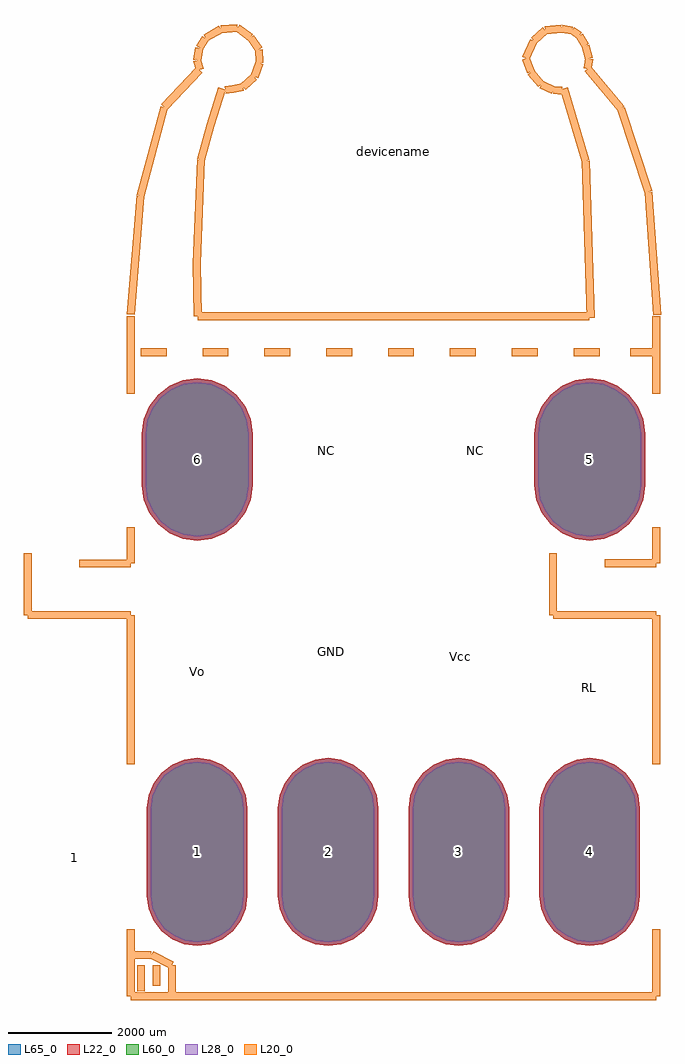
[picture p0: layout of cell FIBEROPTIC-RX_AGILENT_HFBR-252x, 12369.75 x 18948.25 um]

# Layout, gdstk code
import gdstk
lib = gdstk.Library(unit=1e-6, precision=1e-09)
def P(c, l, *ps):  # polygons
    for p in ps: c.add(gdstk.Polygon(p, *l))
L20_0 = (20, 0)
L22_0 = (22, 0)
L28_0 = (28, 0)
L60_0 = (60, 0)
L65_0 = (65, 0)

fiberoptic_rx_agilent_hf = lib.new_cell('FIBEROPTIC-RX_AGILENT_HFBR-252x')
P(fiberoptic_rx_agilent_hf, L22_0, [(-3810,444.43),(-3531.902,481.042),(-3272.755,588.384),(-3050.221,759.141),(-2879.464,981.675),(-2772.122,1240.822),(-2735.51,1518.92),(-2735.51,2519.68),(-2772.122,2797.778),(-2879.464,3056.925),(-3050.221,3279.459),(-3272.755,3450.216),(-3531.902,3557.558),(-3810,3594.17),(-4088.098,3557.558),(-4347.245,3450.216),(-4569.779,3279.459),(-4740.536,3056.925),(-4847.878,2797.778),(-4884.49,2519.68),(-4884.49,1518.92),(-4847.878,1240.822),(-4740.536,981.675),(-4569.779,759.141),(-4347.245,588.384),(-4088.098,481.042)],
  [(3810,444.43),(4088.098,481.042),(4347.245,588.384),(4569.779,759.141),(4740.536,981.675),(4847.878,1240.822),(4884.49,1518.92),(4884.49,2519.68),(4847.878,2797.778),(4740.536,3056.925),(4569.779,3279.459),(4347.245,3450.216),(4088.098,3557.558),(3810,3594.17),(3531.902,3557.558),(3272.755,3450.216),(3050.221,3279.459),(2879.464,3056.925),(2772.122,2797.778),(2735.51,2519.68),(2735.51,1518.92),(2772.122,1240.822),(2879.464,981.675),(3050.221,759.141),(3272.755,588.384),(3531.902,481.042)],
  [(3810,-7425.76),(4062.46,-7392.523),(4297.715,-7295.077),(4499.733,-7140.063),(4654.747,-6938.045),(4752.193,-6702.79),(4785.43,-6450.33),(4785.43,-4751.07),(4752.193,-4498.61),(4654.747,-4263.355),(4499.733,-4061.337),(4297.715,-3906.323),(4062.46,-3808.877),(3810,-3775.64),(3557.54,-3808.877),(3322.285,-3906.323),(3120.267,-4061.337),(2965.253,-4263.355),(2867.807,-4498.61),(2834.57,-4751.07),(2834.57,-6450.33),(2867.807,-6702.79),(2965.253,-6938.045),(3120.267,-7140.063),(3322.285,-7295.077),(3557.54,-7392.523)],
  [(1270,-7425.76),(1522.46,-7392.523),(1757.715,-7295.077),(1959.733,-7140.063),(2114.747,-6938.045),(2212.193,-6702.79),(2245.43,-6450.33),(2245.43,-4751.07),(2212.193,-4498.61),(2114.747,-4263.355),(1959.733,-4061.337),(1757.715,-3906.323),(1522.46,-3808.877),(1270,-3775.64),(1017.54,-3808.877),(782.285,-3906.323),(580.267,-4061.337),(425.253,-4263.355),(327.807,-4498.61),(294.57,-4751.07),(294.57,-6450.33),(327.807,-6702.79),(425.253,-6938.045),(580.267,-7140.063),(782.285,-7295.077),(1017.54,-7392.523)],
  [(-1270,-7425.76),(-1017.54,-7392.523),(-782.285,-7295.077),(-580.267,-7140.063),(-425.253,-6938.045),(-327.807,-6702.79),(-294.57,-6450.33),(-294.57,-4751.07),(-327.807,-4498.61),(-425.253,-4263.355),(-580.267,-4061.337),(-782.285,-3906.323),(-1017.54,-3808.877),(-1270,-3775.64),(-1522.46,-3808.877),(-1757.715,-3906.323),(-1959.733,-4061.337),(-2114.747,-4263.355),(-2212.193,-4498.61),(-2245.43,-4751.07),(-2245.43,-6450.33),(-2212.193,-6702.79),(-2114.747,-6938.045),(-1959.733,-7140.063),(-1757.715,-7295.077),(-1522.46,-7392.523)],
  [(-3810,-7425.76),(-3557.54,-7392.523),(-3322.285,-7295.077),(-3120.267,-7140.063),(-2965.253,-6938.045),(-2867.807,-6702.79),(-2834.57,-6450.33),(-2834.57,-4751.07),(-2867.807,-4498.61),(-2965.253,-4263.355),(-3120.267,-4061.337),(-3322.285,-3906.323),(-3557.54,-3808.877),(-3810,-3775.64),(-4062.46,-3808.877),(-4297.715,-3906.323),(-4499.733,-4061.337),(-4654.747,-4263.355),(-4752.193,-4498.61),(-4785.43,-4751.07),(-4785.43,-6450.33),(-4752.193,-6702.79),(-4654.747,-6938.045),(-4499.733,-7140.063),(-4297.715,-7295.077),(-4062.46,-7392.523)])
P(fiberoptic_rx_agilent_hf, L28_0, [(-3810,519.43),(-3551.313,553.487),(-3310.255,653.336),(-3103.254,812.174),(-2944.416,1019.175),(-2844.567,1260.233),(-2810.51,1518.92),(-2810.51,2519.68),(-2844.567,2778.367),(-2944.416,3019.425),(-3103.254,3226.426),(-3310.255,3385.264),(-3551.313,3485.113),(-3810,3519.17),(-4068.687,3485.113),(-4309.745,3385.264),(-4516.746,3226.426),(-4675.584,3019.425),(-4775.433,2778.367),(-4809.49,2519.68),(-4809.49,1518.92),(-4775.433,1260.233),(-4675.584,1019.175),(-4516.746,812.174),(-4309.745,653.336),(-4068.687,553.487)],
  [(3810,519.43),(4068.687,553.487),(4309.745,653.336),(4516.746,812.174),(4675.584,1019.175),(4775.433,1260.233),(4809.49,1518.92),(4809.49,2519.68),(4775.433,2778.367),(4675.584,3019.425),(4516.746,3226.426),(4309.745,3385.264),(4068.687,3485.113),(3810,3519.17),(3551.313,3485.113),(3310.255,3385.264),(3103.254,3226.426),(2944.416,3019.425),(2844.567,2778.367),(2810.51,2519.68),(2810.51,1518.92),(2844.567,1260.233),(2944.416,1019.175),(3103.254,812.174),(3310.255,653.336),(3551.313,553.487)],
  [(3810,-7350.76),(4043.048,-7320.079),(4260.215,-7230.125),(4446.7,-7087.03),(4589.795,-6900.545),(4679.749,-6683.378),(4710.43,-6450.33),(4710.43,-4751.07),(4679.749,-4518.022),(4589.795,-4300.855),(4446.7,-4114.37),(4260.215,-3971.275),(4043.048,-3881.321),(3810,-3850.64),(3576.952,-3881.321),(3359.785,-3971.275),(3173.3,-4114.37),(3030.205,-4300.855),(2940.251,-4518.022),(2909.57,-4751.07),(2909.57,-6450.33),(2940.251,-6683.378),(3030.205,-6900.545),(3173.3,-7087.03),(3359.785,-7230.125),(3576.952,-7320.079)],
  [(1270,-7350.76),(1503.048,-7320.079),(1720.215,-7230.125),(1906.7,-7087.03),(2049.795,-6900.545),(2139.749,-6683.378),(2170.43,-6450.33),(2170.43,-4751.07),(2139.749,-4518.022),(2049.795,-4300.855),(1906.7,-4114.37),(1720.215,-3971.275),(1503.048,-3881.321),(1270,-3850.64),(1036.952,-3881.321),(819.785,-3971.275),(633.3,-4114.37),(490.205,-4300.855),(400.251,-4518.022),(369.57,-4751.07),(369.57,-6450.33),(400.251,-6683.378),(490.205,-6900.545),(633.3,-7087.03),(819.785,-7230.125),(1036.952,-7320.079)],
  [(-1270,-7350.76),(-1036.952,-7320.079),(-819.785,-7230.125),(-633.3,-7087.03),(-490.205,-6900.545),(-400.251,-6683.378),(-369.57,-6450.33),(-369.57,-4751.07),(-400.251,-4518.022),(-490.205,-4300.855),(-633.3,-4114.37),(-819.785,-3971.275),(-1036.952,-3881.321),(-1270,-3850.64),(-1503.048,-3881.321),(-1720.215,-3971.275),(-1906.7,-4114.37),(-2049.795,-4300.855),(-2139.749,-4518.022),(-2170.43,-4751.07),(-2170.43,-6450.33),(-2139.749,-6683.378),(-2049.795,-6900.545),(-1906.7,-7087.03),(-1720.215,-7230.125),(-1503.048,-7320.079)],
  [(-3810,-7350.76),(-3576.952,-7320.079),(-3359.785,-7230.125),(-3173.3,-7087.03),(-3030.205,-6900.545),(-2940.251,-6683.378),(-2909.57,-6450.33),(-2909.57,-4751.07),(-2940.251,-4518.022),(-3030.205,-4300.855),(-3173.3,-4114.37),(-3359.785,-3971.275),(-3576.952,-3881.321),(-3810,-3850.64),(-4043.048,-3881.321),(-4260.215,-3971.275),(-4446.7,-4114.37),(-4589.795,-4300.855),(-4679.749,-4518.022),(-4710.43,-4751.07),(-4710.43,-6450.33),(-4679.749,-6683.378),(-4589.795,-6900.545),(-4446.7,-7087.03),(-4260.215,-7230.125),(-4043.048,-7320.079)])
P(fiberoptic_rx_agilent_hf, L60_0, [(-3810,519.43),(-3551.313,553.487),(-3310.255,653.336),(-3103.254,812.174),(-2944.416,1019.175),(-2844.567,1260.233),(-2810.51,1518.92),(-2810.51,2519.68),(-2844.567,2778.367),(-2944.416,3019.425),(-3103.254,3226.426),(-3310.255,3385.264),(-3551.313,3485.113),(-3810,3519.17),(-4068.687,3485.113),(-4309.745,3385.264),(-4516.746,3226.426),(-4675.584,3019.425),(-4775.433,2778.367),(-4809.49,2519.68),(-4809.49,1518.92),(-4775.433,1260.233),(-4675.584,1019.175),(-4516.746,812.174),(-4309.745,653.336),(-4068.687,553.487)],
  [(3810,519.43),(4068.687,553.487),(4309.745,653.336),(4516.746,812.174),(4675.584,1019.175),(4775.433,1260.233),(4809.49,1518.92),(4809.49,2519.68),(4775.433,2778.367),(4675.584,3019.425),(4516.746,3226.426),(4309.745,3385.264),(4068.687,3485.113),(3810,3519.17),(3551.313,3485.113),(3310.255,3385.264),(3103.254,3226.426),(2944.416,3019.425),(2844.567,2778.367),(2810.51,2519.68),(2810.51,1518.92),(2844.567,1260.233),(2944.416,1019.175),(3103.254,812.174),(3310.255,653.336),(3551.313,553.487)],
  [(3810,-7350.76),(4043.048,-7320.079),(4260.215,-7230.125),(4446.7,-7087.03),(4589.795,-6900.545),(4679.749,-6683.378),(4710.43,-6450.33),(4710.43,-4751.07),(4679.749,-4518.022),(4589.795,-4300.855),(4446.7,-4114.37),(4260.215,-3971.275),(4043.048,-3881.321),(3810,-3850.64),(3576.952,-3881.321),(3359.785,-3971.275),(3173.3,-4114.37),(3030.205,-4300.855),(2940.251,-4518.022),(2909.57,-4751.07),(2909.57,-6450.33),(2940.251,-6683.378),(3030.205,-6900.545),(3173.3,-7087.03),(3359.785,-7230.125),(3576.952,-7320.079)],
  [(1270,-7350.76),(1503.048,-7320.079),(1720.215,-7230.125),(1906.7,-7087.03),(2049.795,-6900.545),(2139.749,-6683.378),(2170.43,-6450.33),(2170.43,-4751.07),(2139.749,-4518.022),(2049.795,-4300.855),(1906.7,-4114.37),(1720.215,-3971.275),(1503.048,-3881.321),(1270,-3850.64),(1036.952,-3881.321),(819.785,-3971.275),(633.3,-4114.37),(490.205,-4300.855),(400.251,-4518.022),(369.57,-4751.07),(369.57,-6450.33),(400.251,-6683.378),(490.205,-6900.545),(633.3,-7087.03),(819.785,-7230.125),(1036.952,-7320.079)],
  [(-1270,-7350.76),(-1036.952,-7320.079),(-819.785,-7230.125),(-633.3,-7087.03),(-490.205,-6900.545),(-400.251,-6683.378),(-369.57,-6450.33),(-369.57,-4751.07),(-400.251,-4518.022),(-490.205,-4300.855),(-633.3,-4114.37),(-819.785,-3971.275),(-1036.952,-3881.321),(-1270,-3850.64),(-1503.048,-3881.321),(-1720.215,-3971.275),(-1906.7,-4114.37),(-2049.795,-4300.855),(-2139.749,-4518.022),(-2170.43,-4751.07),(-2170.43,-6450.33),(-2139.749,-6683.378),(-2049.795,-6900.545),(-1906.7,-7087.03),(-1720.215,-7230.125),(-1503.048,-7320.079)],
  [(-3810,-7350.76),(-3576.952,-7320.079),(-3359.785,-7230.125),(-3173.3,-7087.03),(-3030.205,-6900.545),(-2940.251,-6683.378),(-2909.57,-6450.33),(-2909.57,-4751.07),(-2940.251,-4518.022),(-3030.205,-4300.855),(-3173.3,-4114.37),(-3359.785,-3971.275),(-3576.952,-3881.321),(-3810,-3850.64),(-4043.048,-3881.321),(-4260.215,-3971.275),(-4446.7,-4114.37),(-4589.795,-4300.855),(-4679.749,-4518.022),(-4710.43,-4751.07),(-4710.43,-6450.33),(-4679.749,-6683.378),(-4589.795,-6900.545),(-4446.7,-7087.03),(-4260.215,-7230.125),(-4043.048,-7320.079)])
P(fiberoptic_rx_agilent_hf, L65_0, [(-3810,444.43),(-3531.902,481.042),(-3272.755,588.384),(-3050.221,759.141),(-2879.464,981.675),(-2772.122,1240.822),(-2735.51,1518.92),(-2735.51,2519.68),(-2772.122,2797.778),(-2879.464,3056.925),(-3050.221,3279.459),(-3272.755,3450.216),(-3531.902,3557.558),(-3810,3594.17),(-4088.098,3557.558),(-4347.245,3450.216),(-4569.779,3279.459),(-4740.536,3056.925),(-4847.878,2797.778),(-4884.49,2519.68),(-4884.49,1518.92),(-4847.878,1240.822),(-4740.536,981.675),(-4569.779,759.141),(-4347.245,588.384),(-4088.098,481.042)],
  [(3810,444.43),(4088.098,481.042),(4347.245,588.384),(4569.779,759.141),(4740.536,981.675),(4847.878,1240.822),(4884.49,1518.92),(4884.49,2519.68),(4847.878,2797.778),(4740.536,3056.925),(4569.779,3279.459),(4347.245,3450.216),(4088.098,3557.558),(3810,3594.17),(3531.902,3557.558),(3272.755,3450.216),(3050.221,3279.459),(2879.464,3056.925),(2772.122,2797.778),(2735.51,2519.68),(2735.51,1518.92),(2772.122,1240.822),(2879.464,981.675),(3050.221,759.141),(3272.755,588.384),(3531.902,481.042)],
  [(3810,-7425.76),(4062.46,-7392.523),(4297.715,-7295.077),(4499.733,-7140.063),(4654.747,-6938.045),(4752.193,-6702.79),(4785.43,-6450.33),(4785.43,-4751.07),(4752.193,-4498.61),(4654.747,-4263.355),(4499.733,-4061.337),(4297.715,-3906.323),(4062.46,-3808.877),(3810,-3775.64),(3557.54,-3808.877),(3322.285,-3906.323),(3120.267,-4061.337),(2965.253,-4263.355),(2867.807,-4498.61),(2834.57,-4751.07),(2834.57,-6450.33),(2867.807,-6702.79),(2965.253,-6938.045),(3120.267,-7140.063),(3322.285,-7295.077),(3557.54,-7392.523)],
  [(1270,-7425.76),(1522.46,-7392.523),(1757.715,-7295.077),(1959.733,-7140.063),(2114.747,-6938.045),(2212.193,-6702.79),(2245.43,-6450.33),(2245.43,-4751.07),(2212.193,-4498.61),(2114.747,-4263.355),(1959.733,-4061.337),(1757.715,-3906.323),(1522.46,-3808.877),(1270,-3775.64),(1017.54,-3808.877),(782.285,-3906.323),(580.267,-4061.337),(425.253,-4263.355),(327.807,-4498.61),(294.57,-4751.07),(294.57,-6450.33),(327.807,-6702.79),(425.253,-6938.045),(580.267,-7140.063),(782.285,-7295.077),(1017.54,-7392.523)],
  [(-1270,-7425.76),(-1017.54,-7392.523),(-782.285,-7295.077),(-580.267,-7140.063),(-425.253,-6938.045),(-327.807,-6702.79),(-294.57,-6450.33),(-294.57,-4751.07),(-327.807,-4498.61),(-425.253,-4263.355),(-580.267,-4061.337),(-782.285,-3906.323),(-1017.54,-3808.877),(-1270,-3775.64),(-1522.46,-3808.877),(-1757.715,-3906.323),(-1959.733,-4061.337),(-2114.747,-4263.355),(-2212.193,-4498.61),(-2245.43,-4751.07),(-2245.43,-6450.33),(-2212.193,-6702.79),(-2114.747,-6938.045),(-1959.733,-7140.063),(-1757.715,-7295.077),(-1522.46,-7392.523)],
  [(-3810,-7425.76),(-3557.54,-7392.523),(-3322.285,-7295.077),(-3120.267,-7140.063),(-2965.253,-6938.045),(-2867.807,-6702.79),(-2834.57,-6450.33),(-2834.57,-4751.07),(-2867.807,-4498.61),(-2965.253,-4263.355),(-3120.267,-4061.337),(-3322.285,-3906.323),(-3557.54,-3808.877),(-3810,-3775.64),(-4062.46,-3808.877),(-4297.715,-3906.323),(-4499.733,-4061.337),(-4654.747,-4263.355),(-4752.193,-4498.61),(-4785.43,-4751.07),(-4785.43,-6450.33),(-4752.193,-6702.79),(-4654.747,-6938.045),(-4499.733,-7140.063),(-4297.715,-7295.077),(-4062.46,-7392.523)])
fiberoptic_rx_agilent_hf.add(gdstk.FlexPath([(0,-8399.78),(5100.32,-8399.78)], 149.998, ends="flush", simple_path=True, layer=20, datatype=0))  # L20_0
fiberoptic_rx_agilent_hf.add(gdstk.FlexPath([(0,-8399.78),(-5100.32,-8399.78)], 149.998, ends="flush", simple_path=True, layer=20, datatype=0))  # L20_0
fiberoptic_rx_agilent_hf.add(gdstk.FlexPath([(3799.84,4800.6),(-3799.84,4800.6)], 149.998, ends="flush", simple_path=True, layer=20, datatype=0))  # L20_0
fiberoptic_rx_agilent_hf.add(gdstk.FlexPath([(4419.6,8829.04),(3769.36,9601.2)], 149.998, ends="flush", simple_path=True, layer=20, datatype=0))  # L20_0
fiberoptic_rx_agilent_hf.add(gdstk.FlexPath([(4950.46,7211.06),(4419.6,8829.04)], 149.998, ends="flush", simple_path=True, layer=20, datatype=0))  # L20_0
fiberoptic_rx_agilent_hf.add(gdstk.FlexPath([(5120.64,4820.92),(4950.46,7211.06)], 149.998, ends="flush", simple_path=True, layer=20, datatype=0))  # L20_0
fiberoptic_rx_agilent_hf.add(gdstk.FlexPath([(-4450.08,8859.52),(-3769.36,9580.88)], 149.998, ends="flush", simple_path=True, layer=20, datatype=0))  # L20_0
fiberoptic_rx_agilent_hf.add(gdstk.FlexPath([(-4909.82,7139.94),(-4450.08,8859.52)], 149.998, ends="flush", simple_path=True, layer=20, datatype=0))  # L20_0
fiberoptic_rx_agilent_hf.add(gdstk.FlexPath([(-5100.32,4831.08),(-4909.82,7139.94)], 149.998, ends="flush", simple_path=True, layer=20, datatype=0))  # L20_0
fiberoptic_rx_agilent_hf.add(gdstk.FlexPath([(-3550.92,8509),(-3329.94,9220.2)], 149.998, ends="flush", simple_path=True, layer=20, datatype=0))  # L20_0
fiberoptic_rx_agilent_hf.add(gdstk.FlexPath([(-3738.88,7840.98),(-3550.92,8509)], 149.998, ends="flush", simple_path=True, layer=20, datatype=0))  # L20_0
fiberoptic_rx_agilent_hf.add(gdstk.FlexPath([(-3820.16,5819.14),(-3738.88,7840.98)], 149.998, ends="flush", simple_path=True, layer=20, datatype=0))  # L20_0
fiberoptic_rx_agilent_hf.add(gdstk.FlexPath([(-3799.84,4800.6),(-3820.16,5819.14)], 149.998, ends="flush", simple_path=True, layer=20, datatype=0))  # L20_0
fiberoptic_rx_agilent_hf.add(gdstk.FlexPath([(3731.26,7820.66),(3309.62,9220.2)], 149.998, ends="flush", simple_path=True, layer=20, datatype=0))  # L20_0
fiberoptic_rx_agilent_hf.add(gdstk.FlexPath([(3830.32,4770.12),(3731.26,7820.66)], 149.998, ends="flush", simple_path=True, layer=20, datatype=0))  # L20_0
fiberoptic_rx_agilent_hf.add(gdstk.FlexPath([(3108.96,9189.72),(3268.98,9179.56)], 149.998, ends="flush", simple_path=True, layer=20, datatype=0))  # L20_0
fiberoptic_rx_agilent_hf.add(gdstk.FlexPath([(2870.2,9298.94),(3108.96,9189.72)], 149.998, ends="flush", simple_path=True, layer=20, datatype=0))  # L20_0
fiberoptic_rx_agilent_hf.add(gdstk.FlexPath([(2669.54,9540.24),(2870.2,9298.94)], 149.998, ends="flush", simple_path=True, layer=20, datatype=0))  # L20_0
fiberoptic_rx_agilent_hf.add(gdstk.FlexPath([(2570.48,9809.48),(2669.54,9540.24)], 149.998, ends="flush", simple_path=True, layer=20, datatype=0))  # L20_0
fiberoptic_rx_agilent_hf.add(gdstk.FlexPath([(2720.34,10149.84),(2570.48,9809.48)], 149.998, ends="flush", simple_path=True, layer=20, datatype=0))  # L20_0
fiberoptic_rx_agilent_hf.add(gdstk.FlexPath([(2948.94,10350.5),(2720.34,10149.84)], 149.998, ends="flush", simple_path=True, layer=20, datatype=0))  # L20_0
fiberoptic_rx_agilent_hf.add(gdstk.FlexPath([(3268.98,10380.98),(2948.94,10350.5)], 149.998, ends="flush", simple_path=True, layer=20, datatype=0))  # L20_0
fiberoptic_rx_agilent_hf.add(gdstk.FlexPath([(3469.64,10350.5),(3268.98,10380.98)], 149.998, ends="flush", simple_path=True, layer=20, datatype=0))  # L20_0
fiberoptic_rx_agilent_hf.add(gdstk.FlexPath([(3609.34,10248.9),(3469.64,10350.5)], 149.998, ends="flush", simple_path=True, layer=20, datatype=0))  # L20_0
fiberoptic_rx_agilent_hf.add(gdstk.FlexPath([(3731.26,10050.78),(3609.34,10248.9)], 149.998, ends="flush", simple_path=True, layer=20, datatype=0))  # L20_0
fiberoptic_rx_agilent_hf.add(gdstk.FlexPath([(3799.84,9799.32),(3731.26,10050.78)], 149.998, ends="flush", simple_path=True, layer=20, datatype=0))  # L20_0
fiberoptic_rx_agilent_hf.add(gdstk.FlexPath([(3769.36,9601.2),(3799.84,9799.32)], 149.998, ends="flush", simple_path=True, layer=20, datatype=0))  # L20_0
fiberoptic_rx_agilent_hf.add(gdstk.FlexPath([(-3810,9768.84),(-3759.2,9580.88)], 149.998, ends="flush", simple_path=True, layer=20, datatype=0))  # L20_0
fiberoptic_rx_agilent_hf.add(gdstk.FlexPath([(-3769.36,10010.14),(-3810,9768.84)], 149.998, ends="flush", simple_path=True, layer=20, datatype=0))  # L20_0
fiberoptic_rx_agilent_hf.add(gdstk.FlexPath([(-3649.98,10200.64),(-3769.36,10010.14)], 149.998, ends="flush", simple_path=True, layer=20, datatype=0))  # L20_0
fiberoptic_rx_agilent_hf.add(gdstk.FlexPath([(-3350.26,10370.82),(-3649.98,10200.64)], 149.998, ends="flush", simple_path=True, layer=20, datatype=0))  # L20_0
fiberoptic_rx_agilent_hf.add(gdstk.FlexPath([(-3030.22,10398.76),(-3350.26,10370.82)], 149.998, ends="flush", simple_path=True, layer=20, datatype=0))  # L20_0
fiberoptic_rx_agilent_hf.add(gdstk.FlexPath([(-2771.14,10210.8),(-3030.22,10398.76)], 149.998, ends="flush", simple_path=True, layer=20, datatype=0))  # L20_0
fiberoptic_rx_agilent_hf.add(gdstk.FlexPath([(-2611.12,9979.66),(-2771.14,10210.8)], 149.998, ends="flush", simple_path=True, layer=20, datatype=0))  # L20_0
fiberoptic_rx_agilent_hf.add(gdstk.FlexPath([(-2600.96,9720.58),(-2611.12,9979.66)], 149.998, ends="flush", simple_path=True, layer=20, datatype=0))  # L20_0
fiberoptic_rx_agilent_hf.add(gdstk.FlexPath([(-2700.02,9448.8),(-2600.96,9720.58)], 149.998, ends="flush", simple_path=True, layer=20, datatype=0))  # L20_0
fiberoptic_rx_agilent_hf.add(gdstk.FlexPath([(-2921,9250.68),(-2700.02,9448.8)], 149.998, ends="flush", simple_path=True, layer=20, datatype=0))  # L20_0
fiberoptic_rx_agilent_hf.add(gdstk.FlexPath([(-3119.12,9210.04),(-2921,9250.68)], 149.998, ends="flush", simple_path=True, layer=20, datatype=0))  # L20_0
fiberoptic_rx_agilent_hf.add(gdstk.FlexPath([(-3268.98,9189.72),(-3119.12,9210.04)], 149.998, ends="flush", simple_path=True, layer=20, datatype=0))  # L20_0
fiberoptic_rx_agilent_hf.add(gdstk.FlexPath([(5100.32,-8399.78),(5100.32,-7099.3)], 149.998, ends="flush", simple_path=True, layer=20, datatype=0))  # L20_0
fiberoptic_rx_agilent_hf.add(gdstk.FlexPath([(5100.32,3299.46),(5100.32,4800.6)], 149.998, ends="flush", simple_path=True, layer=20, datatype=0))  # L20_0
fiberoptic_rx_agilent_hf.add(gdstk.FlexPath([(-5100.32,4800.6),(-5100.32,3299.46)], 149.998, ends="flush", simple_path=True, layer=20, datatype=0))  # L20_0
fiberoptic_rx_agilent_hf.add(gdstk.FlexPath([(-5100.32,-8399.78),(-5100.32,-7099.3)], 149.998, ends="flush", simple_path=True, layer=20, datatype=0))  # L20_0
fiberoptic_rx_agilent_hf.add(gdstk.FlexPath([(-6101.08,0),(-5100.32,0)], 149.998, ends="flush", simple_path=True, layer=20, datatype=0))  # L20_0
fiberoptic_rx_agilent_hf.add(gdstk.FlexPath([(-5100.32,-1000.76),(-7099.3,-1000.76)], 149.998, ends="flush", simple_path=True, layer=20, datatype=0))  # L20_0
fiberoptic_rx_agilent_hf.add(gdstk.FlexPath([(5102.86,-998.22),(3103.88,-998.22)], 149.998, ends="flush", simple_path=True, layer=20, datatype=0))  # L20_0
fiberoptic_rx_agilent_hf.add(gdstk.FlexPath([(4102.1,2.54),(5102.86,2.54)], 149.998, ends="flush", simple_path=True, layer=20, datatype=0))  # L20_0
fiberoptic_rx_agilent_hf.add(gdstk.FlexPath([(-5100.32,0),(-5100.32,701.04)], 149.998, ends="flush", simple_path=True, layer=20, datatype=0))  # L20_0
fiberoptic_rx_agilent_hf.add(gdstk.FlexPath([(-5100.32,-1000.76),(-5100.32,-3898.9)], 149.998, ends="flush", simple_path=True, layer=20, datatype=0))  # L20_0
fiberoptic_rx_agilent_hf.add(gdstk.FlexPath([(5100.32,-3898.9),(5100.32,-1000.76)], 149.998, ends="flush", simple_path=True, layer=20, datatype=0))  # L20_0
fiberoptic_rx_agilent_hf.add(gdstk.FlexPath([(5100.32,0),(5100.32,701.04)], 149.998, ends="flush", simple_path=True, layer=20, datatype=0))  # L20_0
fiberoptic_rx_agilent_hf.add(gdstk.FlexPath([(-4300.22,-7800.34),(-4300.22,-8399.78)], 149.998, ends="flush", simple_path=True, layer=20, datatype=0))  # L20_0
fiberoptic_rx_agilent_hf.add(gdstk.FlexPath([(-4699,-7599.68),(-4300.22,-7800.34)], 149.998, ends="flush", simple_path=True, layer=20, datatype=0))  # L20_0
fiberoptic_rx_agilent_hf.add(gdstk.FlexPath([(-5100.32,-7599.68),(-4699,-7599.68)], 149.998, ends="flush", simple_path=True, layer=20, datatype=0))  # L20_0
fiberoptic_rx_agilent_hf.add(gdstk.FlexPath([(-4899.66,-7800.34),(-4899.66,-8300.72)], 149.998, ends="flush", simple_path=True, layer=20, datatype=0))  # L20_0
fiberoptic_rx_agilent_hf.add(gdstk.FlexPath([(-4599.94,-7800.34),(-4599.94,-8199.12)], 149.998, ends="flush", simple_path=True, layer=20, datatype=0))  # L20_0
fiberoptic_rx_agilent_hf.add(gdstk.FlexPath([(5100.32,4099.56),(4599.94,4099.56)], 149.998, ends="flush", simple_path=True, layer=20, datatype=0))  # L20_0
fiberoptic_rx_agilent_hf.add(gdstk.FlexPath([(4000.5,4099.56),(3500.12,4099.56)], 149.998, ends="flush", simple_path=True, layer=20, datatype=0))  # L20_0
fiberoptic_rx_agilent_hf.add(gdstk.FlexPath([(2799.08,4099.56),(2298.7,4099.56)], 149.998, ends="flush", simple_path=True, layer=20, datatype=0))  # L20_0
fiberoptic_rx_agilent_hf.add(gdstk.FlexPath([(1597.66,4099.56),(1097.28,4099.56)], 149.998, ends="flush", simple_path=True, layer=20, datatype=0))  # L20_0
fiberoptic_rx_agilent_hf.add(gdstk.FlexPath([(396.24,4099.56),(-104.14,4099.56)], 149.998, ends="flush", simple_path=True, layer=20, datatype=0))  # L20_0
fiberoptic_rx_agilent_hf.add(gdstk.FlexPath([(-802.64,4099.56),(-1303.02,4099.56)], 149.998, ends="flush", simple_path=True, layer=20, datatype=0))  # L20_0
fiberoptic_rx_agilent_hf.add(gdstk.FlexPath([(-2004.06,4099.56),(-2504.44,4099.56)], 149.998, ends="flush", simple_path=True, layer=20, datatype=0))  # L20_0
fiberoptic_rx_agilent_hf.add(gdstk.FlexPath([(-3202.94,4099.56),(-3703.32,4099.56)], 149.998, ends="flush", simple_path=True, layer=20, datatype=0))  # L20_0
fiberoptic_rx_agilent_hf.add(gdstk.FlexPath([(-4404.36,4099.56),(-4904.74,4099.56)], 149.998, ends="flush", simple_path=True, layer=20, datatype=0))  # L20_0
fiberoptic_rx_agilent_hf.add(gdstk.FlexPath([(3098.8,-1000.76),(3098.8,200.66)], 149.998, ends="flush", simple_path=True, layer=20, datatype=0))  # L20_0
fiberoptic_rx_agilent_hf.add(gdstk.FlexPath([(-7099.3,-1000.76),(-7099.3,200.66)], 149.998, ends="flush", simple_path=True, layer=20, datatype=0))  # L20_0
fiberoptic_rx_agilent_hf.add(gdstk.Label('6', (-3810,2019.3), layer=28, texttype=0))
fiberoptic_rx_agilent_hf.add(gdstk.Label('5', (3810,2019.3), layer=28, texttype=0))
fiberoptic_rx_agilent_hf.add(gdstk.Label('4', (3810,-5600.7), layer=28, texttype=0))
fiberoptic_rx_agilent_hf.add(gdstk.Label('3', (1270,-5600.7), layer=28, texttype=0))
fiberoptic_rx_agilent_hf.add(gdstk.Label('2', (-1270,-5600.7), layer=28, texttype=0))
fiberoptic_rx_agilent_hf.add(gdstk.Label('1', (-3810,-5600.7), layer=28, texttype=0))
fiberoptic_rx_agilent_hf.add(gdstk.Label('1', (-6200.14,-5699.76), layer=9, texttype=0))
fiberoptic_rx_agilent_hf.add(gdstk.Label('Vo', (-3799.84,-2100.58), layer=9, texttype=0))
fiberoptic_rx_agilent_hf.add(gdstk.Label('GND', (-1198.88,-1699.26), layer=9, texttype=0))
fiberoptic_rx_agilent_hf.add(gdstk.Label('NC', (1600.2,2199.64), layer=9, texttype=0))
fiberoptic_rx_agilent_hf.add(gdstk.Label('RL', (3799.84,-2400.3), layer=9, texttype=0))
fiberoptic_rx_agilent_hf.add(gdstk.Label('NC', (-1303.02,2199.64), layer=9, texttype=0))
fiberoptic_rx_agilent_hf.add(gdstk.Label('Vcc', (1300.48,-1800.86), layer=9, texttype=0))
fiberoptic_rx_agilent_hf.add(gdstk.Label('type', (0,-11399.52), layer=9, texttype=0))
fiberoptic_rx_agilent_hf.add(gdstk.Label('devicename', (0,8001), layer=9, texttype=0))

lib.write_gds('FIBEROPTIC-RX_AGILENT_HFBR-252x.gds')
